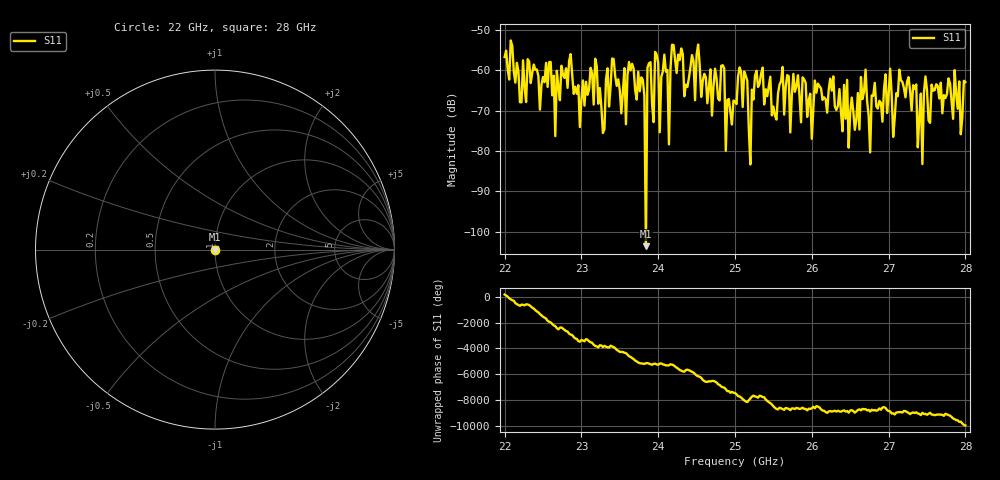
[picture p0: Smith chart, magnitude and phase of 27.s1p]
#  HZ  S  RI  R  50.00
! Rohde & Schwarz ZVA40 4Ports - Version 3.90 - 1145.1110k42 SN: 100403
! Date: 2023-10-04 08:05:21
! Measurement: S12
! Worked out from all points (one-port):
!   301 points, 22 GHz to 28 GHz, reference 50 ohm
!   lowest |S11| = -103.6 dB at 23.84 GHz (marker M1), VSWR 1.00, Z = 50 - j0.00059 ohm
!   |S11| at or under -10 dB: start of sweep to end of sweep
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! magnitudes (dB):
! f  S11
! 22 GHz  -56.7
! 22.6 GHz  -57.9
! 22.66 GHz  -76.3
! 22.76 GHz  -61.1
! 23.5 GHz  -64.9
! 23.8 GHz  -62.3
! 23.84 GHz  -103.6
! 23.86 GHz  -59.4
! 23.94 GHz  -72.8
! 24 GHz  -58.1
! 24.02 GHz  -75.3
! 24.08 GHz  -56.1
! 24.14 GHz  -78.4
! 24.18 GHz  -53.6
! 24.26 GHz  -56.1
! 24.88 GHz  -80.0
! 25 GHz  -67.7
! 25.14 GHz  -61.3
! 25.2 GHz  -83.3
! 25.28 GHz  -60.1
! 25.62 GHz  -59.1
! 25.72 GHz  -75.4
! 25.76 GHz  -60.9
! 26.5 GHz  -70.5
! 27.26 GHz  -61.7
! 27.44 GHz  -83.2
! 27.48 GHz  -61.5
! 28 GHz  -62.9
